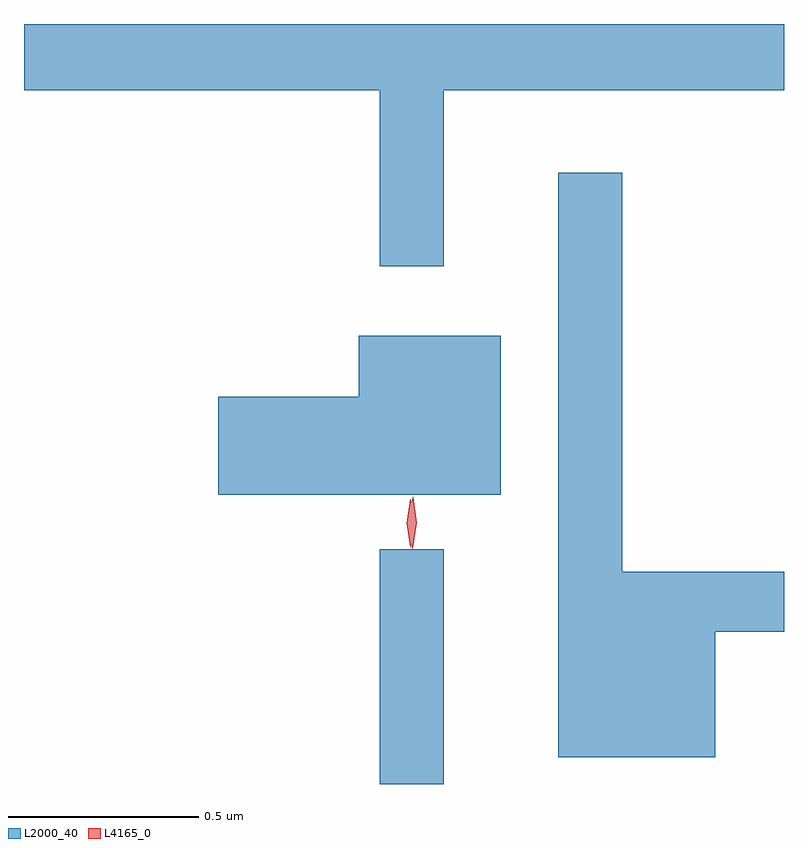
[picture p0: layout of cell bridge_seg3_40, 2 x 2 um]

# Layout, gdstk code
import gdstk
lib = gdstk.Library(unit=1e-6, precision=1e-09)
def R(c, l, rs):  # rectangles x0, y0, x1, y1
    for r in rs: c.add(gdstk.rectangle(r[:2], r[2:], *l))
def P(c, l, *ps):  # polygons
    for p in ps: c.add(gdstk.Polygon(p, *l))
L2000_40 = (2000, 40)
L4165_0 = (4165, 0)

bridge_seg3_40 = lib.new_cell('bridge_seg3_40')
R(bridge_seg3_40, L2000_40, [(1240.621,1173.03,1240.789,1173.648)])
P(bridge_seg3_40, L2000_40, [(1240.789,1174.856),(1241.685,1174.856),(1241.685,1175.03),(1239.685,1175.03),(1239.685,1174.856),(1240.621,1174.856),(1240.621,1174.393),(1240.789,1174.393)],
  [(1241.504,1173.431),(1241.685,1173.431),(1241.685,1173.589),(1241.259,1173.589),(1241.259,1174.638),(1241.091,1174.638),(1241.091,1173.101),(1241.504,1173.101)],
  [(1240.939,1174.209),(1240.566,1174.209),(1240.566,1174.049),(1240.196,1174.049),(1240.196,1173.791),(1240.939,1173.791)])
P(bridge_seg3_40, L4165_0, [(1240.707,1173.65),(1240.707,1173.65),(1240.698,1173.718),(1240.708,1173.785),(1240.709,1173.786),(1240.709,1173.785),(1240.718,1173.718),(1240.708,1173.65)],
  [(1240.702,1173.653),(1240.702,1173.654),(1240.692,1173.716),(1240.702,1173.78),(1240.702,1173.78),(1240.703,1173.78),(1240.712,1173.716),(1240.703,1173.654)])

lib.write_gds('bridge_seg3_40.gds')
